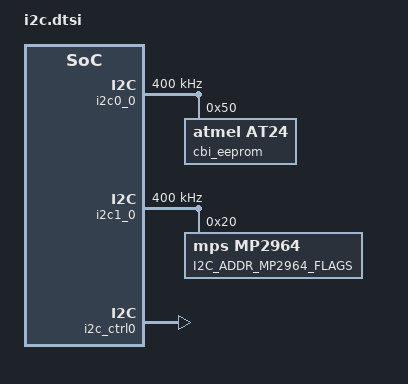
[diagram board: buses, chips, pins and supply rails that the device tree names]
/* Copyright 2024 The ChromiumOS Authors
 * Use of this source code is governed by a BSD-style license that can be
 * found in the LICENSE file.
 */

/ {
	named-i2c-ports {
		compatible = "named-i2c-ports";

		i2c_ec_i2c_eeprom: ec_i2c_eeprom {
			i2c-port = <&i2c0_0>;
			enum-names = "I2C_PORT_EEPROM";
		};

		i2c_ec_i2c_sensor_r: ec_i2c_sensor_r {
			i2c-port = <&i2c1_0>;
			enum-names = "I2C_PORT_SENSOR",
						 "I2C_PORT_MP2964";
		};
	};
};

&i2c0_0 {
	status = "okay";
	pinctrl-0 = <&i2c0_0_sda_scl_gpb4_b5>;
	pinctrl-names = "default";

	label = "I2C_EEPROM";
	clock-frequency = <I2C_BITRATE_FAST>;

	cbi_eeprom: eeprom@50 {
		compatible = "atmel,at24";
		reg = <0x50>;
		size = <2048>;
		pagesize = <16>;
		address-width = <8>;
		timeout = <5>;
	};
};

&i2c1_0 {
	label = "I2C_SENSOR";
	clock-frequency = <I2C_BITRATE_FAST>;
	pmic_mp2964: pmic_mp2964@20 {
			compatible = "mps,mp2964";
			reg = <0x20>;
			label = "I2C_ADDR_MP2964_FLAGS";
	};
};

&i2c_ctrl0 {
	status = "okay";
};

/* Disable sensor I2C nodes */
&i2c6_1 {
    status = "disabled";
};
/delete-node/ &i2c_ec_i2c_charger;

&i2c2_0 {
    status = "disabled";
};
/delete-node/ &i2c_i2c_ec_pd;
